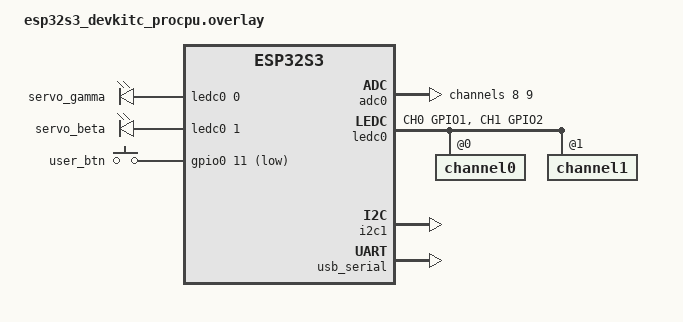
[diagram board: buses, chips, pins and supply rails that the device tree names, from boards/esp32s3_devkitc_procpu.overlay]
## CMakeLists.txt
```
cmake_minimum_required(VERSION 3.20.0)
find_package(Zephyr REQUIRED HINTS $ENV{ZEPHYR_BASE})
project(tracker_solar)

target_sources(app PRIVATE
    src/main.cpp

    lib/pot/src/pot.cpp
    # lib/pwm_frdm/src/pwm_z42.c
    # lib/servo_frdm/src/servo_frdm.cpp
    lib/servo/src/servo.cpp
    lib/rtc/src/rtc.cpp
    lib/solarimetria/src/solarimetria.cpp
    lib/lcd/src/lcd.cpp
    lib/button/src/button.cpp
)

target_include_directories(app PRIVATE
    lib/pot/include
    # lib/pwm_frdm/include
    # lib/servo_frdm/include
    lib/servo/include
    lib/rtc/include
    lib/solarimetria/include
    lib/lcd/include
    lib/button/include
)
```

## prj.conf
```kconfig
CONFIG_GPIO=y
CONFIG_ADC=y
CONFIG_SERIAL=y
CONFIG_I2C=y
CONFIG_PWM=y
CONFIG_HEAP_MEM_POOL_SIZE=16384

CONFIG_DEBUG_THREAD_INFO=y
CONFIG_LOG=y
CONFIG_DEBUG_OPTIMIZATIONS=y
```

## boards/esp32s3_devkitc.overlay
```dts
// 2 servos
// 2 potenciometros
// 1 botão
// 1 GPS
// 1 bússola

// Servo 1: GPIO1
// Servo 2: GPIO2
// Botão: GPIO11
// Pot 1: GPIO10
// Pot 2: GPIO9
// GPS RX: GPIO4
// GPS TX: GPIO5
// Bússola SCL: GPIO16
// Bússola SDA: GPIO15

/ {
    aliases {
        my-adc = &adc0;
        my-adc-channel1 = &adc_ch8;
        my-adc-channel2 = &adc_ch9;
    };

    chosen {
        zephyr,console = &usb_serial;
        zephyr,shell-uart = &usb_serial;
    };
};

&adc0 {
    status = "okay";
    #address-cells = <1>;
    #size-cells = <0>;

    adc_ch8: channel@8 {
        reg = <8>;
        zephyr,gain = "ADC_GAIN_1_4";
        zephyr,reference = "ADC_REF_INTERNAL";
        zephyr,vref-mv = <3894>;
        zephyr,acquisition-time = <ADC_ACQ_TIME_DEFAULT>;
        zephyr,resolution = <12>;
    };

    adc_ch9: channel@9 {
        reg = <9>;
        zephyr,gain = "ADC_GAIN_1_4";
        zephyr,reference = "ADC_REF_INTERNAL";
        zephyr,vref-mv = <3894>;
        zephyr,acquisition-time = <ADC_ACQ_TIME_DEFAULT>;
        zephyr,resolution = <12>;
    };
};

&usb_serial {
    status = "okay";
};
```

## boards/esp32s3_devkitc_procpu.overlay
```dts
// Servo 1 (Gamma): GPIO1 — PWM (LEDC canal 0)
// Servo 2 (Beta):  GPIO2 — PWM (LEDC canal 1)
// Botão: GPIO11
// Pot 1: GPIO10
// Pot 2: GPIO9
// RTC/Bússola SDA (I2C1): GPIO4
// RTC/Bússola SCL (I2C1): GPIO5
// Servo e pot da direita, com fita isolante no cabo -> 

#include <zephyr/dt-bindings/pwm/pwm.h>
#include <zephyr/dt-bindings/gpio/gpio.h>

/ {
    aliases {
        my-adc = &adc0;
        my-adc-channel1 = &adc_ch8;
        my-adc-channel2 = &adc_ch9;
        pwm-servo-gamma = &servo_gamma;
        pwm-servo-beta = &servo_beta;
        user-button = &user_btn;
    };

    chosen {
        zephyr,console = &usb_serial;
        zephyr,shell-uart = &usb_serial;
    };

    pwmservos {
        compatible = "pwm-leds";

        servo_gamma: servo_gamma {
            pwms = <&ledc0 0 20000000 PWM_POLARITY_NORMAL>;
        };

        servo_beta: servo_beta {
            pwms = <&ledc0 1 20000000 PWM_POLARITY_NORMAL>;
        };
    };

    app_buttons {
        compatible = "gpio-keys";

        user_btn: user_btn {
            gpios = <&gpio0 11 (GPIO_ACTIVE_LOW | GPIO_PULL_UP)>;
        };
    };
};

&adc0 {
    status = "okay";
    #address-cells = <1>;
    #size-cells = <0>;

    adc_ch8: channel@8 {
        reg = <8>;
        zephyr,gain = "ADC_GAIN_1_4";
        zephyr,reference = "ADC_REF_INTERNAL";
        zephyr,vref-mv = <3894>;
        zephyr,acquisition-time = <ADC_ACQ_TIME_DEFAULT>;
        zephyr,resolution = <12>;
    };

    adc_ch9: channel@9 {
        reg = <9>;
        zephyr,gain = "ADC_GAIN_1_4";
        zephyr,reference = "ADC_REF_INTERNAL";
        zephyr,vref-mv = <3894>;
        zephyr,acquisition-time = <ADC_ACQ_TIME_DEFAULT>;
        zephyr,resolution = <12>;
    };
};

&pinctrl {
    ledc0_default: ledc0_default {
        group1 {
            pinmux = <LEDC_CH0_GPIO1>,
                     <LEDC_CH1_GPIO2>;
            output-enable;
        };
    };
};

&ledc0 {
    pinctrl-0 = <&ledc0_default>;
    pinctrl-names = "default";
    status = "okay";
    #address-cells = <1>;
    #size-cells = <0>;

    channel0@0 {
        reg = <0x0>;
        timer = <0>;
    };

    channel1@1 {
        reg = <0x1>;
        timer = <0>;
    };
};

&gpio0 {
    status = "okay";
};

&i2c1 {
    status = "okay";
};

&usb_serial {
    status = "okay";
};
```

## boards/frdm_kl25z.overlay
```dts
/ {
    aliases {
        my-adc = &adc0;
        my-adc-channel = &adc_ch0;
        my-adc-channel1 = &adc_ch1
    };
};

&adc0 {
    status = "okay";
    #address-cells = <1>;
    #size-cells = <0>;

    adc_ch0: channel@0 {
        reg = <0>;
        zephyr,gain = "ADC_GAIN_1";
        zephyr,reference = "ADC_REF_INTERNAL";
        zephyr,acquisition-time = <ADC_ACQ_TIME_DEFAULT>;
        zephyr,resolution = <12>;
        zephyr,vref-mv = <3300>;
    };

    adc_ch1: channel@1 {
        reg = <1>;
        zephyr,gain = "ADC_GAIN_1";
        zephyr,reference = "ADC_REF_INTERNAL";
        zephyr,acquisition-time = <ADC_ACQ_TIME_DEFAULT>;
        zephyr,resolution = <12>;
        zephyr,vref-mv = <3300>;
    };
};

&pinctrl {
    i2c0_default: i2c0_default {
        group0 {
            pinmux = <I2C0_SCL_PTC8>, <I2C0_SDA_PTC9>;
        };
    };
};

&i2c0 {
    status = "okay";
    pinctrl-0 = <&i2c0_default>;
    pinctrl-names = "default";
    clock-frequency = <I2C_BITRATE_STANDARD>;
};











































/*
 * frdm_kl25z.overlay
 *
 * Mapeamento de pinos do LCD HD44780 para a FRDM-KL25Z.
 *
 * Conexão física (modo 4-bit):
 *
 *   LCD Pino | Sinal | Header FRDM-KL25Z | GPIO
 *   ---------|-------|-------------------|-------
 *      1     |  VSS  |       GND         |  —
 *      2     |  VDD  |       +5V         |  —
 *      3     |  VO   |  Pot. 10kΩ p/ GND |  —   (ajuste de contraste)
 *      4     |  RS   |       J1-2        | PTA1
 *      5     |  RW   |       GND         |  —   (somente escrita)
 *      6     |  EN   |       J1-4        | PTA2
 *      7–10  | D0–D3 |       N/C         |  —   (não usados em 4-bit)
 *     11     |  D4   |       J2-6        | PTD4
 *     12     |  D5   |       J1-12       | PTA12
 *     13     |  D6   |       J1-6        | PTA4
 *     14     |  D7   |       J1-8        | PTA5
 *     15     |  A    |  +5V via 330Ω    |  —   (backlight +)
 *     16     |  K    |       GND         |  —   (backlight -)
 *
 * Nota: a KL25Z opera em 3,3 V. A maioria dos módulos LCD com
 * HD44780 funciona corretamente com 3,3 V no barramento de dados.
 * Ajuste o potenciômetro de contraste até o texto aparecer.
 *
 * Estratégia do overlay:
 *   O nó "zephyr,user" é o mecanismo oficial do Zephyr para
 *   declarar múltiplos GPIOs avulsos sem precisar criar um
 *   binding customizado. Todos os pinos ficam numa única
 *   propriedade "gpios" e são acessados por índice no firmware.
 */

/ {
    chosen {
        /*
         * Nenhuma alteração nos periféricos principais —
         * apenas declaramos os GPIOs do LCD abaixo.
         */
    };

    zephyr,user {
        /*
         * Ordem dos pinos (índice na array "gpios"):
         *   0 → RS   (PTA1)
         *   1 → EN   (PTA2)
         *   2 → D4   (PTD4)
         *   3 → D5   (PTA12)
         *   4 → D6   (PTA4)
         *   5 → D7   (PTA5)
         */
        gpios = <&gpioa 1  GPIO_ACTIVE_HIGH>,   /* RS  */
                <&gpioa 2  GPIO_ACTIVE_HIGH>,   /* EN  */
                <&gpiod 4  GPIO_ACTIVE_HIGH>,   /* D4  */
                <&gpioa 12 GPIO_ACTIVE_HIGH>,   /* D5  */
                <&gpioa 4  GPIO_ACTIVE_HIGH>,   /* D6  */
                <&gpioa 5  GPIO_ACTIVE_HIGH>;   /* D7  */
    };
};
```

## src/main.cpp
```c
// #include <servo.hpp>
// #include <rtc.hpp>
// #include <tracker.hpp>
// #include <button.hpp>
#include <pot.hpp>

// const struct device *i2c = DEVICE_DT_GET(DT_NODELABEL(i2c0));
// static const struct gpio_dt_spec btn = GPIO_DT_SPEC_GET(DT_NODELABEL(user_button_0), gpios);
static const struct device *adc = DEVICE_DT_GET(DT_ALIAS(my_adc));

static const struct adc_channel_cfg adc_ch1 = ADC_CHANNEL_CFG_DT(DT_ALIAS(my_adc_channel1));
#define POT1_VREF DT_PROP(DT_ALIAS(my_adc_channel1), zephyr_vref_mv)
#define POT1_RES  DT_PROP(DT_ALIAS(my_adc_channel1), zephyr_resolution)

static const struct adc_channel_cfg adc_ch2 = ADC_CHANNEL_CFG_DT(DT_ALIAS(my_adc_channel2));
#define POT2_VREF DT_PROP(DT_ALIAS(my_adc_channel2), zephyr_vref_mv)
#define POT2_RES  DT_PROP(DT_ALIAS(my_adc_channel2), zephyr_resolution)

int main(void)
{
    int theta;
    Servo myServoGamma(TPM1, 0, GPIOB, 0);
    Servo myServoBeta(TPM1, 1, GPIOB, 1);
    Potenciometro myPot1(adc, adc_ch1, POT1_VREF, POT1_RES);
    Potenciometro myPot2(adc, adc_ch2, POT2_VREF, POT2_RES); 
    MyRTC myTimer(i2c);
    Tracker tracker(-23.5570, -46.7290);
    Button myButton(btn);
    struct tempo agora;

    //struct tempo set = { .sec=0, .min=15, .hour=11,
    //                            .wday=4, .mday=2, .month=7, .year=26 };
    //myTimer.write(&set);

    while(1)
    {
        switch(myButton.modo_atual_)
        {
            case MODO_AUTOMATICO:
                myTimer.read();
                agora = myTimer.getTempo();
                tracker.atualizar(agora);
                myServoGamma.write(tracker.getGamma());
                if (tracker.getBeta() < 45) theta = 45;
                if (tracker.getBeta() > 135) theta = 135;
                myServoBeta.write(theta);
                k_msleep(1000);
                break;

            case MODO_MANUAL_1G:
                theta = myPot.read();
                myServoGamma.write(theta);
                break;

            case MODO_MANUAL_2B:
                theta = myPot.read();
                if (theta < 45) theta = 45;
                if (theta > 135) theta = 135;
                myServoBeta.write(theta);
                break;
        }
    }
}
```
